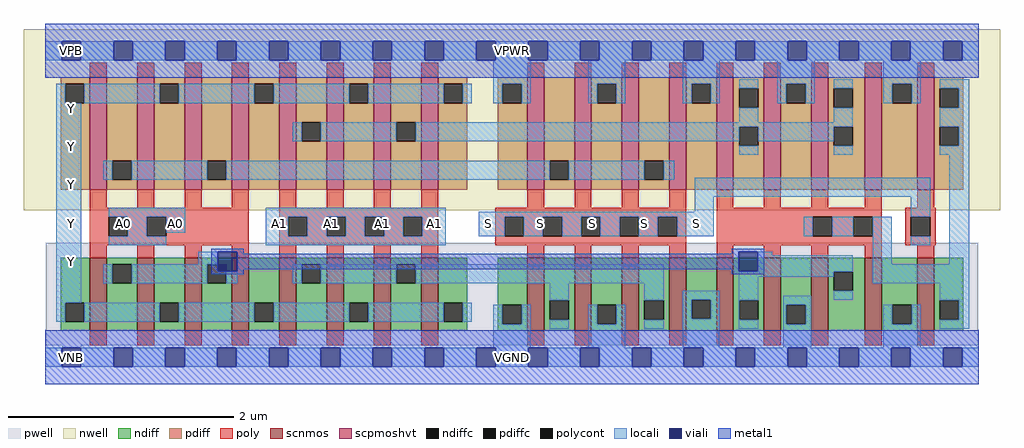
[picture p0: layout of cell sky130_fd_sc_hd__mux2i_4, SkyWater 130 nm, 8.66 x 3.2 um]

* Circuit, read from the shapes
.subckt sky130_fd_sc_hd__mux2i_4 A0 A1 S VGND VNB VPB VPWR Y
XM1 n1 A0 Y VNB sky130_fd_pr__nfet_01v8 w=0.65 l=0.15 m=4
XM2 n2 A1 Y VNB sky130_fd_pr__nfet_01v8 w=0.65 l=0.15 m=4
XM3 n2 S VGND VNB sky130_fd_pr__nfet_01v8 w=0.65 l=0.15 m=4
XM4 n1 n3 VGND VNB sky130_fd_pr__nfet_01v8 w=0.65 l=0.15 m=4
XM5 n3 S VGND VNB sky130_fd_pr__nfet_01v8 w=0.65 l=0.15
XM6 n4 A0 Y VPB sky130_fd_pr__pfet_01v8_hvt w=1 l=0.15 m=4
XM7 n5 A1 Y VPB sky130_fd_pr__pfet_01v8_hvt w=1 l=0.15 m=4
XM8 n4 S VPWR VPB sky130_fd_pr__pfet_01v8_hvt w=1 l=0.15 m=4
XM9 n5 n3 VPWR VPB sky130_fd_pr__pfet_01v8_hvt w=1 l=0.15 m=4
XM10 n3 S VPWR VPB sky130_fd_pr__pfet_01v8_hvt w=1 l=0.15
.ends

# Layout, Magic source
magic
tech sky130A
magscale 1 2
<< nwell >>
rect -38 261 1694 582
<< pwell >>
rect 1 21 1655 203
rect 30 -17 64 21
<< scnmos >>
rect 79 47 109 177
rect 163 47 193 177
rect 247 47 277 177
rect 331 47 361 177
rect 415 47 445 177
rect 499 47 529 177
rect 583 47 613 177
rect 667 47 697 177
rect 855 47 885 177
rect 939 47 969 177
rect 1023 47 1053 177
rect 1107 47 1137 177
rect 1191 47 1221 177
rect 1275 47 1305 177
rect 1359 47 1389 177
rect 1454 47 1484 177
rect 1547 47 1577 177
<< scpmoshvt >>
rect 79 297 109 497
rect 163 297 193 497
rect 247 297 277 497
rect 331 297 361 497
rect 415 297 445 497
rect 499 297 529 497
rect 583 297 613 497
rect 667 297 697 497
rect 855 297 885 497
rect 939 297 969 497
rect 1023 297 1053 497
rect 1107 297 1137 497
rect 1191 297 1221 497
rect 1275 297 1305 497
rect 1359 297 1389 497
rect 1454 297 1484 497
rect 1547 297 1577 497
<< ndiff >>
rect 27 97 79 177
rect 27 63 35 97
rect 69 63 79 97
rect 27 47 79 63
rect 109 165 163 177
rect 109 131 119 165
rect 153 131 163 165
rect 109 47 163 131
rect 193 97 247 177
rect 193 63 203 97
rect 237 63 247 97
rect 193 47 247 63
rect 277 165 331 177
rect 277 131 287 165
rect 321 131 331 165
rect 277 47 331 131
rect 361 97 415 177
rect 361 63 371 97
rect 405 63 415 97
rect 361 47 415 63
rect 445 165 499 177
rect 445 131 455 165
rect 489 131 499 165
rect 445 47 499 131
rect 529 97 583 177
rect 529 63 539 97
rect 573 63 583 97
rect 529 47 583 63
rect 613 165 667 177
rect 613 131 623 165
rect 657 131 667 165
rect 613 47 667 131
rect 697 97 749 177
rect 697 63 707 97
rect 741 63 749 97
rect 697 47 749 63
rect 803 93 855 177
rect 803 59 811 93
rect 845 59 855 93
rect 803 47 855 59
rect 885 101 939 177
rect 885 67 895 101
rect 929 67 939 101
rect 885 47 939 67
rect 969 93 1023 177
rect 969 59 979 93
rect 1013 59 1023 93
rect 969 47 1023 59
rect 1053 101 1107 177
rect 1053 67 1063 101
rect 1097 67 1107 101
rect 1053 47 1107 67
rect 1137 102 1191 177
rect 1137 68 1147 102
rect 1181 68 1191 102
rect 1137 47 1191 68
rect 1221 101 1275 177
rect 1221 67 1231 101
rect 1265 67 1275 101
rect 1221 47 1275 67
rect 1305 93 1359 177
rect 1305 59 1315 93
rect 1349 59 1359 93
rect 1305 47 1359 59
rect 1389 152 1454 177
rect 1389 118 1399 152
rect 1433 118 1454 152
rect 1389 47 1454 118
rect 1484 93 1547 177
rect 1484 59 1503 93
rect 1537 59 1547 93
rect 1484 47 1547 59
rect 1577 101 1629 177
rect 1577 67 1587 101
rect 1621 67 1629 101
rect 1577 47 1629 67
<< pdiff >>
rect 27 485 79 497
rect 27 451 35 485
rect 69 451 79 485
rect 27 297 79 451
rect 109 349 163 497
rect 109 315 119 349
rect 153 315 163 349
rect 109 297 163 315
rect 193 485 247 497
rect 193 451 203 485
rect 237 451 247 485
rect 193 297 247 451
rect 277 349 331 497
rect 277 315 287 349
rect 321 315 331 349
rect 277 297 331 315
rect 361 485 415 497
rect 361 451 371 485
rect 405 451 415 485
rect 361 297 415 451
rect 445 417 499 497
rect 445 383 455 417
rect 489 383 499 417
rect 445 297 499 383
rect 529 485 583 497
rect 529 451 539 485
rect 573 451 583 485
rect 529 297 583 451
rect 613 417 667 497
rect 613 383 623 417
rect 657 383 667 417
rect 613 297 667 383
rect 697 485 749 497
rect 697 451 707 485
rect 741 451 749 485
rect 697 297 749 451
rect 803 485 855 497
rect 803 451 811 485
rect 845 451 855 485
rect 803 297 855 451
rect 885 349 939 497
rect 885 315 895 349
rect 929 315 939 349
rect 885 297 939 315
rect 969 485 1023 497
rect 969 451 979 485
rect 1013 451 1023 485
rect 969 297 1023 451
rect 1053 349 1107 497
rect 1053 315 1063 349
rect 1097 315 1107 349
rect 1053 297 1107 315
rect 1137 485 1191 497
rect 1137 451 1147 485
rect 1181 451 1191 485
rect 1137 297 1191 451
rect 1221 477 1275 497
rect 1221 443 1231 477
rect 1265 443 1275 477
rect 1221 409 1275 443
rect 1221 375 1231 409
rect 1265 375 1275 409
rect 1221 297 1275 375
rect 1305 485 1359 497
rect 1305 451 1315 485
rect 1349 451 1359 485
rect 1305 297 1359 451
rect 1389 477 1454 497
rect 1389 443 1399 477
rect 1433 443 1454 477
rect 1389 409 1454 443
rect 1389 375 1399 409
rect 1433 375 1454 409
rect 1389 297 1454 375
rect 1484 485 1547 497
rect 1484 451 1503 485
rect 1537 451 1547 485
rect 1484 297 1547 451
rect 1577 477 1629 497
rect 1577 443 1587 477
rect 1621 443 1629 477
rect 1577 409 1629 443
rect 1577 375 1587 409
rect 1621 375 1629 409
rect 1577 297 1629 375
<< ndiffc >>
rect 35 63 69 97
rect 119 131 153 165
rect 203 63 237 97
rect 287 131 321 165
rect 371 63 405 97
rect 455 131 489 165
rect 539 63 573 97
rect 623 131 657 165
rect 707 63 741 97
rect 811 59 845 93
rect 895 67 929 101
rect 979 59 1013 93
rect 1063 67 1097 101
rect 1147 68 1181 102
rect 1231 67 1265 101
rect 1315 59 1349 93
rect 1399 118 1433 152
rect 1503 59 1537 93
rect 1587 67 1621 101
<< pdiffc >>
rect 35 451 69 485
rect 119 315 153 349
rect 203 451 237 485
rect 287 315 321 349
rect 371 451 405 485
rect 455 383 489 417
rect 539 451 573 485
rect 623 383 657 417
rect 707 451 741 485
rect 811 451 845 485
rect 895 315 929 349
rect 979 451 1013 485
rect 1063 315 1097 349
rect 1147 451 1181 485
rect 1231 443 1265 477
rect 1231 375 1265 409
rect 1315 451 1349 485
rect 1399 443 1433 477
rect 1399 375 1433 409
rect 1503 451 1537 485
rect 1587 443 1621 477
rect 1587 375 1621 409
<< poly >>
rect 79 497 109 523
rect 163 497 193 523
rect 247 497 277 523
rect 331 497 361 523
rect 415 497 445 523
rect 499 497 529 523
rect 583 497 613 523
rect 667 497 697 523
rect 855 497 885 523
rect 939 497 969 523
rect 1023 497 1053 523
rect 1107 497 1137 523
rect 1191 497 1221 523
rect 1275 497 1305 523
rect 1359 497 1389 523
rect 1454 497 1484 523
rect 1547 497 1577 523
rect 79 265 109 297
rect 163 265 193 297
rect 247 265 277 297
rect 331 265 361 297
rect 79 249 361 265
rect 79 215 112 249
rect 146 215 180 249
rect 214 215 361 249
rect 79 199 361 215
rect 79 177 109 199
rect 163 177 193 199
rect 247 177 277 199
rect 331 177 361 199
rect 415 265 445 297
rect 499 265 529 297
rect 583 265 613 297
rect 667 265 697 297
rect 855 265 885 297
rect 939 265 969 297
rect 1023 265 1053 297
rect 1107 265 1137 297
rect 415 249 697 265
rect 415 215 431 249
rect 465 215 499 249
rect 533 215 567 249
rect 601 215 635 249
rect 669 215 697 249
rect 415 199 697 215
rect 798 249 1137 265
rect 798 215 815 249
rect 849 215 883 249
rect 917 215 951 249
rect 985 215 1019 249
rect 1053 215 1087 249
rect 1121 215 1137 249
rect 798 199 1137 215
rect 415 177 445 199
rect 499 177 529 199
rect 583 177 613 199
rect 667 177 697 199
rect 855 177 885 199
rect 939 177 969 199
rect 1023 177 1053 199
rect 1107 177 1137 199
rect 1191 265 1221 297
rect 1275 265 1305 297
rect 1359 265 1389 297
rect 1454 265 1484 297
rect 1547 265 1577 297
rect 1191 249 1484 265
rect 1191 215 1362 249
rect 1396 215 1434 249
rect 1468 215 1484 249
rect 1191 199 1484 215
rect 1526 249 1580 265
rect 1526 215 1536 249
rect 1570 215 1580 249
rect 1526 199 1580 215
rect 1191 177 1221 199
rect 1275 177 1305 199
rect 1359 177 1389 199
rect 1454 177 1484 199
rect 1547 177 1577 199
rect 79 21 109 47
rect 163 21 193 47
rect 247 21 277 47
rect 331 21 361 47
rect 415 21 445 47
rect 499 21 529 47
rect 583 21 613 47
rect 667 21 697 47
rect 855 21 885 47
rect 939 21 969 47
rect 1023 21 1053 47
rect 1107 21 1137 47
rect 1191 21 1221 47
rect 1275 21 1305 47
rect 1359 21 1389 47
rect 1454 21 1484 47
rect 1547 21 1577 47
<< polycont >>
rect 112 215 146 249
rect 180 215 214 249
rect 431 215 465 249
rect 499 215 533 249
rect 567 215 601 249
rect 635 215 669 249
rect 815 215 849 249
rect 883 215 917 249
rect 951 215 985 249
rect 1019 215 1053 249
rect 1087 215 1121 249
rect 1362 215 1396 249
rect 1434 215 1468 249
rect 1536 215 1570 249
<< locali >>
rect 0 527 29 561
rect 63 527 121 561
rect 155 527 213 561
rect 247 527 305 561
rect 339 527 397 561
rect 431 527 489 561
rect 523 527 581 561
rect 615 527 673 561
rect 707 527 765 561
rect 799 527 857 561
rect 891 527 949 561
rect 983 527 1041 561
rect 1075 527 1133 561
rect 1167 527 1225 561
rect 1259 527 1317 561
rect 1351 527 1409 561
rect 1443 527 1501 561
rect 1535 527 1593 561
rect 1627 527 1656 561
rect 795 485 861 527
rect 19 451 35 485
rect 69 451 203 485
rect 237 451 371 485
rect 405 451 539 485
rect 573 451 707 485
rect 741 451 757 485
rect 795 451 811 485
rect 845 451 861 485
rect 963 485 1029 527
rect 963 451 979 485
rect 1013 451 1029 485
rect 1131 485 1197 527
rect 1131 451 1147 485
rect 1181 451 1197 485
rect 1231 477 1265 493
rect 19 97 64 451
rect 1299 485 1365 527
rect 1299 451 1315 485
rect 1349 451 1365 485
rect 1399 477 1433 493
rect 1231 417 1265 443
rect 1487 485 1553 527
rect 1487 451 1503 485
rect 1537 451 1553 485
rect 1587 477 1639 493
rect 1399 417 1433 443
rect 439 383 455 417
rect 489 383 623 417
rect 657 409 1433 417
rect 657 383 1231 409
rect 1265 383 1399 409
rect 1231 359 1265 375
rect 1399 359 1433 375
rect 1621 443 1639 477
rect 1587 409 1639 443
rect 1621 375 1639 409
rect 1587 359 1639 375
rect 103 315 119 349
rect 153 315 287 349
rect 321 315 895 349
rect 929 315 1063 349
rect 1097 315 1116 349
rect 1152 285 1570 319
rect 112 249 248 265
rect 146 215 180 249
rect 214 221 248 249
rect 391 249 710 265
rect 1152 258 1186 285
rect 112 199 214 215
rect 391 215 431 249
rect 465 215 499 249
rect 533 215 567 249
rect 601 215 635 249
rect 669 215 710 249
rect 769 249 1186 258
rect 1536 249 1570 285
rect 769 215 815 249
rect 849 215 883 249
rect 917 215 951 249
rect 985 215 1019 249
rect 1053 215 1087 249
rect 1121 215 1186 249
rect 1346 215 1362 249
rect 1396 215 1434 249
rect 391 199 710 215
rect 271 165 306 187
rect 103 131 119 165
rect 153 131 287 165
rect 321 131 340 153
rect 439 131 455 165
rect 489 131 623 165
rect 657 131 1097 165
rect 895 101 929 131
rect 19 63 35 97
rect 69 63 203 97
rect 237 63 371 97
rect 405 63 539 97
rect 573 63 707 97
rect 741 63 757 97
rect 795 59 811 93
rect 845 59 861 93
rect 795 17 861 59
rect 1063 101 1097 131
rect 1264 181 1290 187
rect 1264 153 1433 181
rect 1230 152 1433 153
rect 1230 143 1399 152
rect 895 51 929 67
rect 963 59 979 93
rect 1013 59 1029 93
rect 963 17 1029 59
rect 1063 51 1097 67
rect 1131 102 1196 118
rect 1131 68 1147 102
rect 1181 68 1196 102
rect 1131 17 1196 68
rect 1230 101 1265 143
rect 1468 165 1502 249
rect 1536 199 1570 215
rect 1604 165 1639 359
rect 1468 131 1639 165
rect 1230 67 1231 101
rect 1230 51 1265 67
rect 1309 93 1359 109
rect 1399 102 1433 118
rect 1587 101 1639 131
rect 1309 59 1315 93
rect 1349 59 1359 93
rect 1309 17 1359 59
rect 1487 59 1503 93
rect 1537 59 1553 93
rect 1487 17 1553 59
rect 1621 67 1639 101
rect 1587 51 1639 67
rect 0 -17 29 17
rect 63 -17 121 17
rect 155 -17 213 17
rect 247 -17 305 17
rect 339 -17 397 17
rect 431 -17 489 17
rect 523 -17 581 17
rect 615 -17 673 17
rect 707 -17 765 17
rect 799 -17 857 17
rect 891 -17 949 17
rect 983 -17 1041 17
rect 1075 -17 1133 17
rect 1167 -17 1225 17
rect 1259 -17 1317 17
rect 1351 -17 1409 17
rect 1443 -17 1501 17
rect 1535 -17 1593 17
rect 1627 -17 1656 17
<< viali >>
rect 29 527 63 561
rect 121 527 155 561
rect 213 527 247 561
rect 305 527 339 561
rect 397 527 431 561
rect 489 527 523 561
rect 581 527 615 561
rect 673 527 707 561
rect 765 527 799 561
rect 857 527 891 561
rect 949 527 983 561
rect 1041 527 1075 561
rect 1133 527 1167 561
rect 1225 527 1259 561
rect 1317 527 1351 561
rect 1409 527 1443 561
rect 1501 527 1535 561
rect 1593 527 1627 561
rect 306 165 340 187
rect 306 153 321 165
rect 321 153 340 165
rect 1230 153 1264 187
rect 29 -17 63 17
rect 121 -17 155 17
rect 213 -17 247 17
rect 305 -17 339 17
rect 397 -17 431 17
rect 489 -17 523 17
rect 581 -17 615 17
rect 673 -17 707 17
rect 765 -17 799 17
rect 857 -17 891 17
rect 949 -17 983 17
rect 1041 -17 1075 17
rect 1133 -17 1167 17
rect 1225 -17 1259 17
rect 1317 -17 1351 17
rect 1409 -17 1443 17
rect 1501 -17 1535 17
rect 1593 -17 1627 17
<< metal1 >>
rect 0 561 1656 592
rect 0 527 29 561
rect 63 527 121 561
rect 155 527 213 561
rect 247 527 305 561
rect 339 527 397 561
rect 431 527 489 561
rect 523 527 581 561
rect 615 527 673 561
rect 707 527 765 561
rect 799 527 857 561
rect 891 527 949 561
rect 983 527 1041 561
rect 1075 527 1133 561
rect 1167 527 1225 561
rect 1259 527 1317 561
rect 1351 527 1409 561
rect 1443 527 1501 561
rect 1535 527 1593 561
rect 1627 527 1656 561
rect 0 496 1656 527
rect 294 187 352 193
rect 294 153 306 187
rect 340 184 352 187
rect 1218 187 1276 193
rect 1218 184 1230 187
rect 340 156 1230 184
rect 340 153 352 156
rect 294 147 352 153
rect 1218 153 1230 156
rect 1264 153 1276 187
rect 1218 147 1276 153
rect 0 17 1656 48
rect 0 -17 29 17
rect 63 -17 121 17
rect 155 -17 213 17
rect 247 -17 305 17
rect 339 -17 397 17
rect 431 -17 489 17
rect 523 -17 581 17
rect 615 -17 673 17
rect 707 -17 765 17
rect 799 -17 857 17
rect 891 -17 949 17
rect 983 -17 1041 17
rect 1075 -17 1133 17
rect 1167 -17 1225 17
rect 1259 -17 1317 17
rect 1351 -17 1409 17
rect 1443 -17 1501 17
rect 1535 -17 1593 17
rect 1627 -17 1656 17
rect 0 -48 1656 -17
<< labels >>
flabel locali s 1046 221 1080 255 0 FreeSans 200 0 0 0 S
port 3 nsew signal input
flabel locali s 954 221 988 255 0 FreeSans 200 0 0 0 S
port 3 nsew signal input
flabel locali s 862 221 896 255 0 FreeSans 200 0 0 0 S
port 3 nsew signal input
flabel locali s 770 221 804 255 0 FreeSans 200 0 0 0 S
port 3 nsew signal input
flabel locali s 582 221 616 255 0 FreeSans 200 0 0 0 A1
port 2 nsew signal input
flabel locali s 490 221 524 255 0 FreeSans 200 0 0 0 A1
port 2 nsew signal input
flabel locali s 398 221 432 255 0 FreeSans 200 0 0 0 A1
port 2 nsew signal input
flabel locali s 1138 221 1172 255 0 FreeSans 200 0 0 0 S
port 3 nsew signal input
flabel locali s 214 221 248 255 0 FreeSans 200 0 0 0 A0
port 1 nsew signal input
flabel locali s 122 221 156 255 0 FreeSans 200 0 0 0 A0
port 1 nsew signal input
flabel locali s 30 425 64 459 0 FreeSans 200 0 0 0 Y
port 8 nsew signal output
flabel locali s 30 153 64 187 0 FreeSans 200 0 0 0 Y
port 8 nsew signal output
flabel locali s 30 289 64 323 0 FreeSans 200 0 0 0 Y
port 8 nsew signal output
flabel locali s 30 357 64 391 0 FreeSans 200 0 0 0 Y
port 8 nsew signal output
flabel locali s 30 221 64 255 0 FreeSans 200 0 0 0 Y
port 8 nsew signal output
flabel locali s 674 221 708 255 0 FreeSans 200 0 0 0 A1
port 2 nsew signal input
flabel pwell s 30 -17 64 17 0 FreeSans 200 0 0 0 VNB
port 5 nsew ground bidirectional
flabel nwell s 30 527 64 561 0 FreeSans 200 0 0 0 VPB
port 6 nsew power bidirectional
flabel metal1 s 30 -17 64 17 0 FreeSans 200 0 0 0 VGND
port 4 nsew ground bidirectional abutment
flabel metal1 s 30 527 64 561 0 FreeSans 200 0 0 0 VPWR
port 7 nsew power bidirectional abutment
rlabel comment s 0 0 0 0 4 mux2i_4
rlabel metal1 s 0 -48 1656 48 1 VGND
port 4 nsew ground bidirectional abutment
rlabel metal1 s 0 496 1656 592 1 VPWR
port 7 nsew power bidirectional abutment
<< properties >>
string FIXED_BBOX 0 0 1656 544
string GDS_END 1754258
string GDS_FILE $PDKPATH/libs.ref/sky130_fd_sc_hd/gds/sky130_fd_sc_hd.gds
string GDS_START 1742116
string LEFclass CORE
string LEFsite unithd
string LEFsymmetry X Y R90
string path 0.000 0.000 41.400 0.000 
<< end >>
